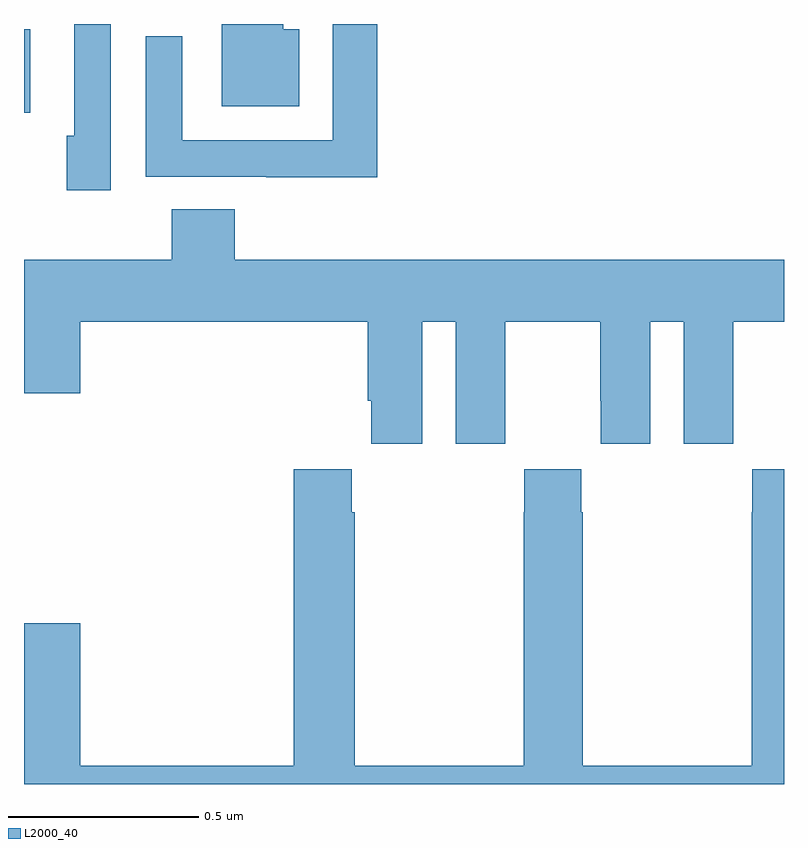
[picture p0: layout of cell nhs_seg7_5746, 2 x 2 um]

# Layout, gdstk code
import gdstk
lib = gdstk.Library(unit=1e-6, precision=1e-09)
def R(c, l, rs):  # rectangles x0, y0, x1, y1
    for r in rs: c.add(gdstk.rectangle(r[:2], r[2:], *l))
def P(c, l, *ps):  # polygons
    for p in ps: c.add(gdstk.Polygon(p, *l))
L2000_40 = (2000, 40)

nhs_seg7_5746 = lib.new_cell('nhs_seg7_5746')
R(nhs_seg7_5746, L2000_40, [(189,1067.767,189.016,1067.986)])
P(nhs_seg7_5746, L2000_40, [(189.228,1068),(189.132,1068),(189.132,1067.706),(189.113,1067.706),(189.113,1067.562),(189.228,1067.562)],
  [(189.724,1067.986),(189.682,1067.986),(189.682,1068),(189.521,1068),(189.521,1067.783),(189.724,1067.783)],
  [(189.929,1068),(189.813,1068),(189.813,1067.694),(189.417,1067.694),(189.417,1067.968),(189.321,1067.968),(189.321,1067.598),(189.637,1067.598),(189.637,1067.597),(189.929,1067.597)],
  [(190.048,1067.216),(190.136,1067.216),(190.136,1066.896),(190.266,1066.896),(190.266,1067.008),(190.267,1067.008),(190.267,1067.216),(190.517,1067.216),(190.517,1067.008),(190.518,1067.008),(190.518,1066.896),(190.648,1066.896),(190.648,1067.216),(190.736,1067.216),(190.736,1066.896),(190.866,1066.896),(190.866,1067.008),(190.867,1067.008),(190.867,1067.216),(191,1067.216),(191,1067.38),(189.554,1067.38),(189.554,1067.513),(189.389,1067.513),(189.389,1067.38),(189,1067.38),(189,1067.028),(189.148,1067.028),(189.148,1067.216),(189.905,1067.216),(189.905,1067.008),(189.914,1067.008),(189.914,1066.896),(190.048,1066.896)],
  [(191,1066.828),(190.917,1066.828),(190.917,1066.715),(190.915,1066.715),(190.915,1066.048),(190.47,1066.048),(190.47,1066.715),(190.467,1066.715),(190.467,1066.828),(190.317,1066.828),(190.317,1066.715),(190.315,1066.715),(190.315,1066.048),(189.87,1066.048),(189.87,1066.715),(189.863,1066.715),(189.863,1066.828),(189.71,1066.828),(189.71,1066.048),(189.148,1066.048),(189.148,1066.423),(189,1066.423),(189,1066),(191,1066)])

lib.write_gds('nhs_seg7_5746.gds')
